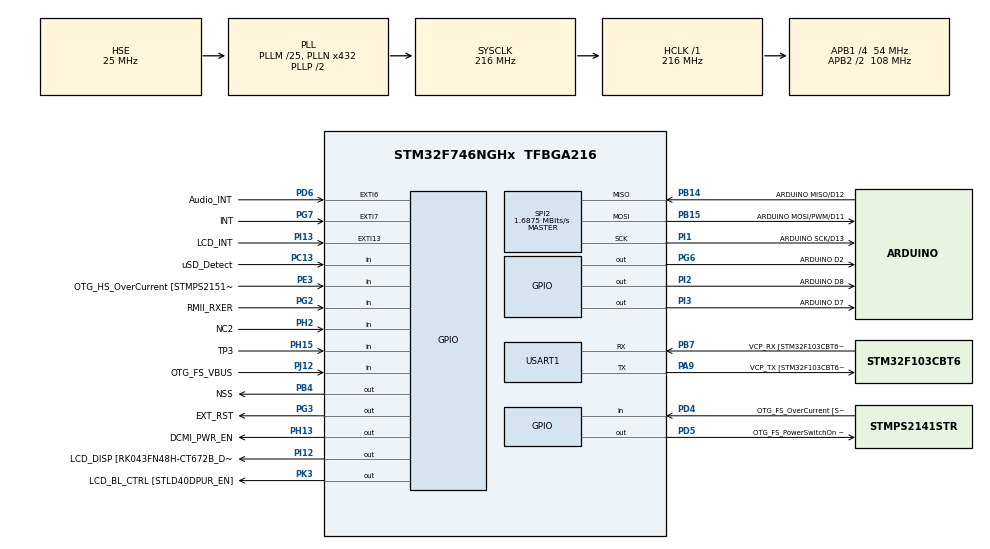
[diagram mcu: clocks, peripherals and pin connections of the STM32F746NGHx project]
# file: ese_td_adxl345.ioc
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Mcu.Family=STM32F7
Mcu.Name=STM32F746NGHx
Mcu.Package=TFBGA216
NVIC.EXTI9_5_IRQn=true\:0\:0\:false\:false\:true\:true\:true\:true
NVIC.PriorityGroup=NVIC_PRIORITYGROUP_4
PA0/WKUP.GPIO_Label=ARDUINO A0
PA0/WKUP.GPIO_Mode=GPIO_MODE_ANALOG
PA0/WKUP.GPIO_PuPd=GPIO_NOPULL
PA0/WKUP.Signal=ADCx_IN0
PA1.GPIO_Label=RMII_REF_CLK [LAN8742A-CZ-TR_REFCLK0]
PA1.Signal=ETH_REF_CLK
PA10.GPIO_Label=OTG_FS_ID
PA10.Signal=USB_OTG_FS_ID
PA11.GPIO_Label=OTG_FS_N
PA11.Signal=USB_OTG_FS_DM
PA12.GPIO_Label=OTG_FS_P
PA12.Signal=USB_OTG_FS_DP
PA13.GPIO_Label=SWDIO
PA13.Mode=Serial_Wire
PA13.Signal=SYS_JTMS-SWDIO
PA14.GPIO_Label=SWCLK
PA14.Mode=Serial_Wire
PA14.Signal=SYS_JTCK-SWCLK
PA15.GPIO_Label=ARDUINO PWM/D9
PA15.GPIO_ModeDefaultPP=GPIO_MODE_AF_PP
PA15.GPIO_PuPd=GPIO_NOPULL
PA15.GPIO_Speed=GPIO_SPEED_FREQ_LOW
PA15.Signal=S_TIM2_CH1_ETR
PA2.GPIO_Label=RMII_MDIO [LAN8742A-CZ-TR_MDIO]
PA2.Signal=ETH_MDIO
PA3.GPIO_Label=ULPI_D0 [USB3320C-EZK_D0]
PA3.Signal=USB_OTG_HS_ULPI_D0
PA4.GPIO_Label=DCMI_HSYNC
PA4.Signal=DCMI_HSYNC
PA5.GPIO_Label=ULPI_CLK [USB3320C-EZK_CLKOUT]
PA5.Signal=USB_OTG_HS_ULPI_CK
PA6.Signal=DCMI_PIXCLK
PA7.GPIO_Label=RMII_CRS_DV [LAN8742A-CZ-TR_CRS_DV]
PA7.Signal=ETH_CRS_DV
PA8.GPIO_Label=ARDUINO PWM/D10
PA8.GPIO_ModeDefaultPP=GPIO_MODE_AF_PP
PA8.GPIO_PuPd=GPIO_NOPULL
PA8.GPIO_Speed=GPIO_SPEED_FREQ_LOW
PA8.Signal=S_TIM1_CH1
PA9.GPIO_Label=VCP_TX [STM32F103CBT6_PA3]
PA9.GPIO_Mode=GPIO_MODE_AF_PP
PA9.GPIO_PuPd=GPIO_NOPULL
PA9.GPIO_Speed=GPIO_SPEED_FREQ_LOW
PA9.Mode=Asynchronous
PA9.Signal=USART1_TX
PB0.GPIO_Label=ULPI_D1 [USB3320C-EZK_D1]
PB0.Signal=USB_OTG_HS_ULPI_D1
PB1.GPIO_Label=ULPI_D2 [USB3320C-EZK_D2]
PB1.Signal=USB_OTG_HS_ULPI_D2
PB10.GPIO_Label=ULPI_D3 [USB3320C-EZK_D3]
PB10.Signal=USB_OTG_HS_ULPI_D3
PB11.GPIO_Label=ULPI_D4 [USB3320C-EZK_D4]
PB11.Signal=USB_OTG_HS_ULPI_D4
PB12.GPIO_Label=ULPI_D5 [USB3320C-EZK_D5]
PB12.Signal=USB_OTG_HS_ULPI_D5
PB13.GPIO_Label=ULPI_D6 [USB3320C-EZK_D6]
PB13.Signal=USB_OTG_HS_ULPI_D6
PB14.GPIO_Label=ARDUINO MISO/D12
PB14.GPIO_Mode=GPIO_MODE_AF_PP
PB14.GPIO_PuPd=GPIO_NOPULL
PB14.GPIO_Speed=GPIO_SPEED_FREQ_LOW
PB14.Mode=Full_Duplex_Master
PB14.Signal=SPI2_MISO
PB15.GPIO_Label=ARDUINO MOSI/PWM/D11
PB15.GPIO_Mode=GPIO_MODE_AF_PP
PB15.GPIO_PuPd=GPIO_NOPULL
PB15.GPIO_Speed=GPIO_SPEED_FREQ_LOW
PB15.Mode=Full_Duplex_Master
PB15.Signal=SPI2_MOSI
PB2.Signal=QUADSPI_CLK
PB3.GPIO_Label=SWO
PB3.Signal=SYS_JTDO-SWO
PB4.GPIO_Label=NSS
PB4.Signal=GPIO_Output
PB5.GPIO_Label=ULPI_D7 [USB3320C-EZK_D7]
PB5.Signal=USB_OTG_HS_ULPI_D7
PB6.GPIO_Label=QSPI_NCS [N25Q128A13EF840E_S]
PB6.Signal=QUADSPI_BK1_NCS
PB7.GPIO_Label=VCP_RX [STM32F103CBT6_PA2]
PB7.GPIO_Mode=GPIO_MODE_AF_PP
PB7.GPIO_PuPd=GPIO_NOPULL
PB7.GPIO_Speed=GPIO_SPEED_FREQ_LOW
PB7.Mode=Asynchronous
PB7.Signal=USART1_RX
PB8.GPIO_Label=ARDUINO SCL/D15
PB8.GPIO_Mode=GPIO_MODE_AF_OD
PB8.GPIO_PuPd=GPIO_NOPULL
PB8.GPIO_Speed=GPIO_SPEED_FREQ_LOW
PB8.Signal=I2C1_SCL
PB9.GPIO_Label=ARDUINO SDA/D14
PB9.GPIO_Mode=GPIO_MODE_AF_OD
PB9.GPIO_PuPd=GPIO_NOPULL
PB9.GPIO_Speed=GPIO_SPEED_FREQ_LOW
PB9.Signal=I2C1_SDA
PC0.GPIO_Label=ULPI_STP [USB3320C-EZK_STP]
PC0.Signal=USB_OTG_HS_ULPI_STP
PC1.GPIO_Label=RMII_MDC [LAN8742A-CZ-TR_MDC]
PC1.Signal=ETH_MDC
PC10.GPIO_Label=SDMMC_D2
PC10.Signal=SDMMC1_D2
PC11.GPIO_Label=SDMMC_D3
PC11.Signal=SDMMC1_D3
PC12.GPIO_Label=SDMMC_CK
PC12.Signal=SDMMC1_CK
PC13.GPIO_Label=uSD_Detect
PC13.Signal=GPIO_Input
PC14/OSC32_IN.GPIO_Label=RCC_OSC32_IN
PC14/OSC32_IN.Signal=RCC_OSC32_IN
PC15/OSC32_OUT.GPIO_Label=RCC_OSC32_OUT
PC15/OSC32_OUT.Signal=RCC_OSC32_OUT
PC2.GPIO_Label=ULPI_DIR [USB3320C-EZK_DIR]
PC2.Signal=USB_OTG_HS_ULPI_DIR
PC3.GPIO_Label=FMC_SDCKE0 [MT48LC4M32B2B5-6A_CKE]
PC3.Signal=FMC_SDCKE0
PC4.GPIO_Label=RMII_RXD0 [LAN8742A-CZ-TR_RXD0]
PC4.Signal=ETH_RXD0
PC5.GPIO_Label=RMII_RXD1 [LAN8742A-CZ-TR_RXD1]
PC5.Signal=ETH_RXD1
PC6.GPIO_Label=ARDUINO TX/D1
PC6.Signal=USART6_TX
PC7.GPIO_Label=ARDUINO RX/D0
PC7.Signal=USART6_RX
PC8.Signal=SDMMC1_D0
PC9.Signal=SDMMC1_D1
PD0.GPIO_Label=FMC_D2 [MT48LC4M32B2B5-6A_DQ2]
PD0.Signal=FMC_D2_DA2
PD1.GPIO_Label=FMC_D3 [MT48LC4M32B2B5-6A_DQ3]
PD1.Signal=FMC_D3_DA3
PD10.GPIO_Label=FMC_D15 [MT48LC4M32B2B5-6A_DQ15]
PD10.Signal=FMC_D15_DA15
PD11.GPIO_Label=QSPI_D0 [N25Q128A13EF840E_DQ0]
PD11.Signal=QUADSPI_BK1_IO0
PD12.GPIO_Label=QSPI_D1 [N25Q128A13EF840E_DQ1]
PD12.Signal=QUADSPI_BK1_IO1
PD13.GPIO_Label=QSPI_D3 [N25Q128A13EF840E_DQ3]
PD13.Signal=QUADSPI_BK1_IO3
PD14.GPIO_Label=FMC_D0 [MT48LC4M32B2B5-6A_DQ0]
PD14.Signal=FMC_D0_DA0
PD15.GPIO_Label=FMC_D1 [MT48LC4M32B2B5-6A_DQ1]
PD15.Signal=FMC_D1_DA1
PD2.GPIO_Label=SDMMC_D0
PD2.Signal=SDMMC1_CMD
PD3.GPIO_Label=DCMI_D5
PD3.Signal=DCMI_D5
PD4.GPIO_Label=OTG_FS_OverCurrent [STMPS2141STR_Fault]
PD4.Signal=GPIO_Input
PD5.GPIO_Label=OTG_FS_PowerSwitchOn [STMPS2141STR_EN]
PD5.PinState=GPIO_PIN_SET
PD5.Signal=GPIO_Output
PD6.GPIO_Label=Audio_INT
PD6.GPIO_ModeDefaultEXTI=GPIO_MODE_EVT_RISING
PD6.Signal=GPXTI6
PD7.GPIO_Label=SPDIF_RX0 [74LVC1G04SE_4]
PD7.Signal=SPDIFRX_IN0
PD8.GPIO_Label=FMC_D13 [MT48LC4M32B2B5-6A_DQ13]
PD8.Signal=FMC_D13_DA13
PD9.GPIO_Label=FMC_D14 [MT48LC4M32B2B5-6A_DQ14]
PD9.Signal=FMC_D14_DA14
PE0.GPIO_Label=FMC_NBL0 [MT48LC4M32B2B5-6A_DQM0]
PE0.Signal=FMC_NBL0
PE1.GPIO_Label=FMC_NBL1 [MT48LC4M32B2B5-6A_DQM1]
PE1.Signal=FMC_NBL1
PE10.GPIO_Label=FMC_D7 [MT48LC4M32B2B5-6A_DQ7]
PE10.Signal=FMC_D7_DA7
PE11.GPIO_Label=FMC_D8 [MT48LC4M32B2B5-6A_DQ8]
PE11.Signal=FMC_D8_DA8
PE12.GPIO_Label=FMC_D9 [MT48LC4M32B2B5-6A_DQ9]
PE12.Signal=FMC_D9_DA9
PE13.GPIO_Label=FMC_D10 [MT48LC4M32B2B5-6A_DQ10]
PE13.Signal=FMC_D10_DA10
PE14.GPIO_Label=FMC_D11 [MT48LC4M32B2B5-6A_DQ11]
PE14.Signal=FMC_D11_DA11
PE15.GPIO_Label=FMC_D12 [MT48LC4M32B2B5-6A_DQ12]
PE15.Signal=FMC_D12_DA12
PE2.GPIO_Label=QSPI_D2 [N25Q128A13EF840E_DQ2]
PE2.Signal=QUADSPI_BK1_IO2
PE3.GPIO_Label=OTG_HS_OverCurrent [STMPS2151STR_FAULT]
PE3.Signal=GPIO_Input
PE4.GPIO_Label=LCD_B0 [RK043FN48H-CT672B_B0]
PE4.Signal=LTDC_B0
PE5.GPIO_Label=DCMI_D6
PE5.Signal=DCMI_D6
PE6.GPIO_Label=DCMI_D7
PE6.Signal=DCMI_D7
PE7.GPIO_Label=FMC_D4 [MT48LC4M32B2B5-6A_DQ4]
PE7.Signal=FMC_D4_DA4
PE8.GPIO_Label=FMC_D5 [MT48LC4M32B2B5-6A_DQ5]
PE8.Signal=FMC_D5_DA5
PE9.GPIO_Label=FMC_D6 [MT48LC4M32B2B5-6A_DQ6]
PE9.Signal=FMC_D6_DA6
PF0.GPIO_Label=FMC_A0 [MT48LC4M32B2B5-6A_A0]
PF0.Signal=FMC_A0
PF1.GPIO_Label=FMC_A1 [MT48LC4M32B2B5-6A_A1]
PF1.Signal=FMC_A1
PF10.GPIO_Label=ARDUINO A1
PF10.GPIO_Mode=GPIO_MODE_ANALOG
PF10.GPIO_PuPd=GPIO_NOPULL
PF10.Signal=ADC3_IN8
PF11.GPIO_Label=FMC_SDNRAS [MT48LC4M32B2B5-6A_RAS]
PF11.Signal=FMC_SDNRAS
PF12.GPIO_Label=FMC_A6 [MT48LC4M32B2B5-6A_A6]
PF12.Signal=FMC_A6
PF13.GPIO_Label=FMC_A7 [MT48LC4M32B2B5-6A_A7]
PF13.Signal=FMC_A7
PF14.GPIO_Label=FMC_A8 [MT48LC4M32B2B5-6A_A8]
PF14.Signal=FMC_A8
PF15.GPIO_Label=FMC_A9 [MT48LC4M32B2B5-6A_A9]
PF15.Signal=FMC_A9
PF2.GPIO_Label=FMC_A2 [MT48LC4M32B2B5-6A_A2]
PF2.Signal=FMC_A2
PF3.GPIO_Label=FMC_A3 [MT48LC4M32B2B5-6A_A3]
PF3.Signal=FMC_A3
PF4.GPIO_Label=FMC_A4 [MT48LC4M32B2B5-6A_A4]
PF4.Signal=FMC_A4
PF5.GPIO_Label=FMC_A5 [MT48LC4M32B2B5-6A_A5]
PF5.Signal=FMC_A5
PF6.GPIO_Label=ARDUINO A5
PF6.GPIO_Mode=GPIO_MODE_ANALOG
PF6.GPIO_PuPd=GPIO_NOPULL
PF6.Signal=ADC3_IN4
PF7.GPIO_Label=ARDUINO A4
PF7.GPIO_Mode=GPIO_MODE_ANALOG
PF7.GPIO_PuPd=GPIO_NOPULL
PF7.Signal=ADC3_IN5
PF8.GPIO_Label=ARDUINO A3
PF8.GPIO_Mode=GPIO_MODE_ANALOG
PF8.GPIO_PuPd=GPIO_NOPULL
PF8.Signal=ADC3_IN6
PF9.GPIO_Label=ARDUINO A2
PF9.GPIO_Mode=GPIO_MODE_ANALOG
PF9.GPIO_PuPd=GPIO_NOPULL
PF9.Signal=ADC3_IN7
PG0.GPIO_Label=FMC_A10 [MT48LC4M32B2B5-6A_A10]
PG0.Signal=FMC_A10
PG1.GPIO_Label=FMC_A11 [MT48LC4M32B2B5-6A_A11]
PG1.Signal=FMC_A11
PG10.GPIO_Label=SAI2_SDB [WM8994ECS/R_ADCDAT1]
PG10.Signal=SAI2_SD_B
PG11.GPIO_Label=RMII_TX_EN [LAN8742A-CZ-TR_TXEN]
PG11.Signal=ETH_TX_EN
PG12.GPIO_Label=LCD_B4 [RK043FN48H-CT672B_B4]
PG12.Signal=LTDC_B4
PG13.GPIO_Label=RMII_TXD0 [LAN8742A-CZ-TR_TXD0]
PG13.Signal=ETH_TXD0
PG14.GPIO_Label=RMII_TXD1 [LAN8742A-CZ-TR_TXD1]
PG14.Signal=ETH_TXD1
PG15.GPIO_Label=FMC_SDNCAS [MT48LC4M32B2B5-6A_CAS]
PG15.Signal=FMC_SDNCAS
PG2.GPIO_Label=RMII_RXER
PG2.Signal=GPIO_Input
PG3.GPIO_Label=EXT_RST
PG3.Signal=GPIO_Output
PG4.GPIO_Label=FMC_BA0 [MT48LC4M32B2B5-6A_BA0]
PG4.Signal=FMC_A14_BA0
PG5.GPIO_Label=FMC_BA1 [MT48LC4M32B2B5-6A_BA1]
PG5.Signal=FMC_A15_BA1
PG6.GPIO_Label=ARDUINO D2
PG6.Signal=GPIO_Output
PG7.GPIO_Label=INT
PG7.Signal=GPXTI7
PG8.GPIO_Label=FMC_SDCLK [MT48LC4M32B2B5-6A_CLK]
PG8.Signal=FMC_SDCLK
PG9.GPIO_Label=DCMI_VSYNC
PG9.Signal=DCMI_VSYNC
PH0/OSC_IN.GPIO_Label=OSC_25M [NZ2520SB-25.00M_OUT]
PH0/OSC_IN.Mode=HSE-External-Oscillator
PH0/OSC_IN.Signal=RCC_OSC_IN
PH1/OSC_OUT.Mode=HSE-External-Oscillator
PH1/OSC_OUT.Signal=RCC_OSC_OUT
PH10.GPIO_Label=DCMI_D1
PH10.Signal=DCMI_D1
PH11.GPIO_Label=DCMI_D2
PH11.Signal=DCMI_D2
PH12.GPIO_Label=DCMI_D3
PH12.Signal=DCMI_D3
PH13.GPIO_Label=DCMI_PWR_EN
PH13.Signal=GPIO_Output
PH14.GPIO_Label=DCMI_D4
PH14.Signal=DCMI_D4
PH15.GPIO_Label=TP3
PH15.Signal=GPIO_Input
PH2.GPIO_Label=NC2
PH2.Signal=GPIO_Input
PH3.GPIO_Label=FMC_SDNE0 [MT48LC4M32B2B5-6A_CS]
PH3.Signal=FMC_SDNE0
PH4.GPIO_Label=ULPI_NXT [USB3320C-EZK_NXT]
PH4.Signal=USB_OTG_HS_ULPI_NXT
PH5.GPIO_Label=FMC_SDNME [MT48LC4M32B2B5-6A_WE]
PH5.Signal=FMC_SDNWE
PH6.GPIO_Label=ARDUINO PWM/D6
PH6.Signal=S_TIM12_CH1
PH7.GPIO_Label=LCD_SCL [RK043FN48H-CT672B_SCL]
PH7.Signal=I2C3_SCL
PH8.GPIO_Label=LCD_SDA [RK043FN48H-CT672B_SDA]
PH8.Signal=I2C3_SDA
PH9.GPIO_Label=DCMI_D0
PH9.Signal=DCMI_D0
PI0.GPIO_Label=ARDUINO PWM/CS/D5
PI0.GPIO_ModeDefaultPP=GPIO_MODE_AF_PP
PI0.GPIO_PuPd=GPIO_NOPULL
PI0.GPIO_Speed=GPIO_SPEED_FREQ_LOW
PI0.Signal=S_TIM5_CH4
PI1.GPIO_Label=ARDUINO SCK/D13
PI1.GPIO_Mode=GPIO_MODE_AF_PP
PI1.GPIO_PuPd=GPIO_NOPULL
PI1.GPIO_Speed=GPIO_SPEED_FREQ_LOW
PI1.Mode=Full_Duplex_Master
PI1.Signal=SPI2_SCK
PI10.GPIO_Label=LCD_HSYNC [RK043FN48H-CT672B_HSYNC]
PI10.Signal=LTDC_HSYNC
PI12.GPIO_Label=LCD_DISP [RK043FN48H-CT672B_DISP] 
PI12.Signal=GPIO_Output
PI13.GPIO_Label=LCD_INT
PI13.GPIO_ModeDefaultEXTI=GPIO_MODE_EVT_RISING
PI13.Signal=GPXTI13
PI14.GPIO_Label=LCD_CLK [RK043FN48H-CT672B_CLK]
PI14.Signal=LTDC_CLK
PI15.GPIO_Label=LCD_R0 [RK043FN48H-CT672B_R0]
PI15.Signal=LTDC_R0
PI2.GPIO_Label=ARDUINO D8
PI2.Signal=GPIO_Output
PI3.GPIO_Label=ARDUINO D7
PI3.Signal=GPIO_Output
PI4.GPIO_Label=SAI2_MCLKA [WM8994ECS/R_MCLK1]
PI4.Signal=SAI2_MCLK_A
PI5.GPIO_Label=SAI2_SCKA [WM8994ECS/R_BCLK1]
PI5.Signal=SAI2_SCK_A
PI6.GPIO_Label=SAI2_SDA [WM8994ECS/R_DACDAT1]
PI6.Signal=SAI2_SD_A
PI7.GPIO_Label=SAI2_FSA [WM8994ECS/R_LRCLK1]
PI7.Signal=SAI2_FS_A
PI8.GPIO_Label=NC1 [TP2]
PI8.Signal=RTC_TS
PI9.GPIO_Label=LCD_VSYNC [RK043FN48H-CT672B_VSYNC]
PI9.Signal=LTDC_VSYNC
PJ0.GPIO_Label=LCD_R1 [RK043FN48H-CT672B_R1]
PJ0.Signal=LTDC_R1
PJ1.GPIO_Label=LCD_R2 [RK043FN48H-CT672B_R2]
PJ1.Signal=LTDC_R2
PJ10.GPIO_Label=LCD_G3 [RK043FN48H-CT672B_G3]
PJ10.Signal=LTDC_G3
PJ11.GPIO_Label=LCD_G4 [RK043FN48H-CT672B_G4]
PJ11.Signal=LTDC_G4
PJ12.GPIO_Label=OTG_FS_VBUS
PJ12.Signal=GPIO_Input
PJ13.GPIO_Label=LCD_B1 [RK043FN48H-CT672B_B1]
PJ13.Signal=LTDC_B1
PJ14.GPIO_Label=LCD_B2 [RK043FN48H-CT672B_B2]
PJ14.Signal=LTDC_B2
PJ15.GPIO_Label=LCD_B3 [RK043FN48H-CT672B_B3]
PJ15.Signal=LTDC_B3
PJ2.GPIO_Label=LCD_R3 [RK043FN48H-CT672B_R3]
PJ2.Signal=LTDC_R3
PJ3.GPIO_Label=LCD_R4 [RK043FN48H-CT672B_R4]
PJ3.Signal=LTDC_R4
PJ4.GPIO_Label=LCD_R5 [RK043FN48H-CT672B_R5]
PJ4.Signal=LTDC_R5
PJ5.GPIO_Label=LCD_R6 [RK043FN48H-CT672B_R6]
PJ5.Signal=LTDC_R6
PJ6.GPIO_Label=LCD_R7 [RK043FN48H-CT672B_R7]
PJ6.Signal=LTDC_R7
PJ7.GPIO_Label=LCD_G0 [RK043FN48H-CT672B_G0]
PJ7.Signal=LTDC_G0
PJ8.GPIO_Label=LCD_G1 [RK043FN48H-CT672B_G1]
PJ8.Signal=LTDC_G1
PJ9.GPIO_Label=LCD_G2 [RK043FN48H-CT672B_G2]
PJ9.Signal=LTDC_G2
PK0.GPIO_Label=LCD_G5 [RK043FN48H-CT672B_G5]
PK0.Signal=LTDC_G5
PK1.GPIO_Label=LCD_G6 [RK043FN48H-CT672B_G6]
PK1.Signal=LTDC_G6
PK2.GPIO_Label=LCD_G7 [RK043FN48H-CT672B_G7]
PK2.Signal=LTDC_G7
PK3.GPIO_Label=LCD_BL_CTRL [STLD40DPUR_EN]
PK3.Signal=GPIO_Output
PK4.GPIO_Label=LCD_B5 [RK043FN48H-CT672B_B5]
PK4.Signal=LTDC_B5
PK5.GPIO_Label=LCD_B6 [RK043FN48H-CT672B_B6]
PK5.Signal=LTDC_B6
PK6.GPIO_Label=LCD_B7 [RK043FN48H-CT672B_B7]
PK6.Signal=LTDC_B7
PK7.GPIO_Label=LCD_DE [RK043FN48H-CT672B_DE]
PK7.Signal=LTDC_DE
ProjectManager.HeapSize=0x200
ProjectManager.StackSize=0x400
ProjectManager.TargetToolchain=STM32CubeIDE
RCC.AHBFreq_Value=216000000
RCC.APB1CLKDivider=RCC_HCLK_DIV4
RCC.APB1Freq_Value=54000000
RCC.APB1TimFreq_Value=108000000
RCC.APB2CLKDivider=RCC_HCLK_DIV2
RCC.APB2Freq_Value=108000000
RCC.APB2TimFreq_Value=216000000
RCC.CortexFreq_Value=216000000
RCC.HCLKFreq_Value=216000000
RCC.HSE_VALUE=25000000
RCC.HSI_VALUE=16000000
RCC.LSE_VALUE=32768
RCC.PLLM=25
RCC.PLLN=432
RCC.PLLSourceVirtual=RCC_PLLSOURCE_HSE
RCC.SYSCLKFreq_VALUE=216000000
RCC.SYSCLKSource=RCC_SYSCLKSOURCE_PLLCLK
RCC.USBFreq_Value=216000000
RCC.VCOOutputFreq_Value=432000000
SH.ADCx_IN0.0=ADC3_IN0
SH.FMC_A0.0=FMC_A0
SH.FMC_A1.0=FMC_A1
SH.FMC_A10.0=FMC_A10
SH.FMC_A11.0=FMC_A11
SH.FMC_A14_BA0.0=FMC_BA0
SH.FMC_A15_BA1.0=FMC_BA1
SH.FMC_A2.0=FMC_A2
SH.FMC_A3.0=FMC_A3
SH.FMC_A4.0=FMC_A4
SH.FMC_A5.0=FMC_A5
SH.FMC_A6.0=FMC_A6
SH.FMC_A7.0=FMC_A7
SH.FMC_A8.0=FMC_A8
SH.FMC_A9.0=FMC_A9
SH.FMC_D0_DA0.0=FMC_D0
SH.FMC_D10_DA10.0=FMC_D10
SH.FMC_D11_DA11.0=FMC_D11
SH.FMC_D12_DA12.0=FMC_D12
SH.FMC_D13_DA13.0=FMC_D13
SH.FMC_D14_DA14.0=FMC_D14
SH.FMC_D15_DA15.0=FMC_D15
SH.FMC_D1_DA1.0=FMC_D1
SH.FMC_D2_DA2.0=FMC_D2
SH.FMC_D3_DA3.0=FMC_D3
SH.FMC_D4_DA4.0=FMC_D4
SH.FMC_D5_DA5.0=FMC_D5
SH.FMC_D6_DA6.0=FMC_D6
SH.FMC_D7_DA7.0=FMC_D7
SH.FMC_D8_DA8.0=FMC_D8
SH.FMC_D9_DA9.0=FMC_D9
SH.FMC_NBL0.0=FMC_NBL0
SH.FMC_NBL1.0=FMC_NBL1
SH.FMC_SDCLK.0=FMC_SDCLK
SH.FMC_SDNCAS.0=FMC_SDNCAS
SH.FMC_SDNRAS.0=FMC_SDNRAS
SH.FMC_SDNWE.0=FMC_SDNWE
SH.S_TIM12_CH1.0=TIM12_CH1
SH.S_TIM1_CH1.0=TIM1_CH1
SH.S_TIM2_CH1_ETR.0=TIM2_CH1
SH.S_TIM5_CH4.0=TIM5_CH4
SPI2.BaudRatePrescaler=SPI_BAUDRATEPRESCALER_32
SPI2.CLKPhase=SPI_PHASE_2EDGE
SPI2.CLKPolarity=SPI_POLARITY_HIGH
SPI2.CalculateBaudRate=1.6875 MBits/s
SPI2.DataSize=SPI_DATASIZE_8BIT
SPI2.Direction=SPI_DIRECTION_2LINES
SPI2.Mode=SPI_MODE_MASTER
SPI2.VirtualType=VM_MASTER
USART1.VirtualMode-Asynchronous=VM_ASYNC
board=STM32F746G-DISCO

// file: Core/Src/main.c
/* USER CODE BEGIN Header */
/**
 ******************************************************************************
 * @file           : main.c
 * @brief          : Main program body
 ******************************************************************************
 * @attention
 *
 * Copyright (c) 2022 STMicroelectronics.
 * All rights reserved.
 *
 * This software is licensed under terms that can be found in the LICENSE file
 * in the root directory of this software component.
 * If no LICENSE file comes with this software, it is provided AS-IS.
 *
 ******************************************************************************
 */
/* USER CODE END Header */
#include "main.h"
#include "spi.h"
#include "usart.h"
#include "gpio.h"

/* USER CODE BEGIN Includes */
#include "stdio.h"
/* USER CODE END Includes */

void SystemClock_Config(void);
/* USER CODE BEGIN PFP */
void process_acceleration(uint32_t period_ms, float acc_x, float acc_y, float acc_z);
/* USER CODE END PFP */

/* USER CODE BEGIN 0 */
int __io_putchar(int chr)
{
	HAL_UART_Transmit(&huart1, (uint8_t*)&chr, 1, HAL_MAX_DELAY);
	return chr;
}
/* USER CODE END 0 */

int main(void)
{

	/* MCU Configuration--------------------------------------------------------*/

	/* Reset of all peripherals, Initializes the Flash interface and the Systick. */
	HAL_Init();

	/* Configure the system clock */
	SystemClock_Config();

	/* Initialize all configured peripherals */
	MX_GPIO_Init();
	MX_SPI2_Init();
	MX_USART1_UART_Init();
	/* USER CODE BEGIN 2 */
	printf("\r\n===== ADXL345 =====\r\n");
	printf("Connecter VCC sur le 5V et GND sur GND\r\n");
	printf("CS sur D3, SDO sur D12, SDA sur D11, SCL sur D13, INT1 sur D4\r\n");

	uint8_t receive_buffer = 0;
	uint8_t transmit_buffer = 0x80;

	// Reading the DEVID, it should be 0xE5
	HAL_GPIO_WritePin(NSS_GPIO_Port, NSS_Pin, GPIO_PIN_RESET);
	HAL_SPI_Transmit(&hspi2, &transmit_buffer, 1, HAL_MAX_DELAY);
	HAL_SPI_Receive(&hspi2, &receive_buffer, 1, HAL_MAX_DELAY);
	HAL_GPIO_WritePin(NSS_GPIO_Port, NSS_Pin, GPIO_PIN_SET);

	printf("DEVID = 0x%02X\r\n", receive_buffer);
	if (receive_buffer != 0xE5)
	{
		Error_Handler();
	}

	// Write '1' to the DATA_READY bit in the INT_ENABLE register
	// Generate an interrupt when a new data is ready
	HAL_GPIO_WritePin(NSS_GPIO_Port, NSS_Pin, GPIO_PIN_RESET);
	transmit_buffer = 0x2E;
	HAL_SPI_Transmit(&hspi2, &transmit_buffer, 1, HAL_MAX_DELAY);
	transmit_buffer = 0x80;
	HAL_SPI_Transmit(&hspi2, &transmit_buffer, 1, HAL_MAX_DELAY);
	HAL_GPIO_WritePin(NSS_GPIO_Port, NSS_Pin, GPIO_PIN_SET);

	// Write '1' to the Measure bit in POWER_CTL register
	HAL_GPIO_WritePin(NSS_GPIO_Port, NSS_Pin, GPIO_PIN_RESET);
	transmit_buffer = 0x2D;
	HAL_SPI_Transmit(&hspi2, &transmit_buffer, 1, HAL_MAX_DELAY);
	transmit_buffer = 0x08;
	HAL_SPI_Transmit(&hspi2, &transmit_buffer, 1, HAL_MAX_DELAY);
	HAL_GPIO_WritePin(NSS_GPIO_Port, NSS_Pin, GPIO_PIN_SET);

	uint8_t buffer[6];
	int16_t x_int;
	int16_t y_int;
	int16_t z_int;

	float x, y, z;
	/* USER CODE END 2 */

	/* Infinite loop */
	/* USER CODE BEGIN WHILE */
	while (1)
	{
		// Wait the ADXL345 to finish its measure
		while(HAL_GPIO_ReadPin(INT_GPIO_Port, INT_Pin) == GPIO_PIN_RESET);

		// Reads registers DATAX0 to DATAZ1
		HAL_GPIO_WritePin(NSS_GPIO_Port, NSS_Pin, GPIO_PIN_RESET);
		transmit_buffer = 0x80 + 0x40 + 0x32;
		HAL_SPI_Transmit(&hspi2, &transmit_buffer, 1, HAL_MAX_DELAY);
		HAL_SPI_Receive(&hspi2, buffer, 6, HAL_MAX_DELAY);
		HAL_GPIO_WritePin(NSS_GPIO_Port, NSS_Pin, GPIO_PIN_SET);

		x_int = buffer[0] + (buffer[1] << 8);
		y_int = buffer[2] + (buffer[3] << 8);
		z_int = buffer[4] + (buffer[5] << 8);

		x = (float) x_int / 256.0;
		y = (float) y_int / 256.0;
		z = (float) z_int / 256.0;

		process_acceleration(100, (float)x, (float)y, (float)z);
		/* USER CODE END WHILE */

	}
}

void SystemClock_Config(void)
{
	RCC_OscInitTypeDef RCC_OscInitStruct = {0};
	RCC_ClkInitTypeDef RCC_ClkInitStruct = {0};

	/** Configure the main internal regulator output voltage
	 */
	__HAL_RCC_PWR_CLK_ENABLE();
	__HAL_PWR_VOLTAGESCALING_CONFIG(PWR_REGULATOR_VOLTAGE_SCALE1);

	/** Initializes the RCC Oscillators according to the specified parameters
	 * in the RCC_OscInitTypeDef structure.
	 */
	RCC_OscInitStruct.OscillatorType = RCC_OSCILLATORTYPE_HSE;
	RCC_OscInitStruct.HSEState = RCC_HSE_ON;
	RCC_OscInitStruct.PLL.PLLState = RCC_PLL_ON;
	RCC_OscInitStruct.PLL.PLLSource = RCC_PLLSOURCE_HSE;
	RCC_OscInitStruct.PLL.PLLM = 25;
	RCC_OscInitStruct.PLL.PLLN = 432;
	RCC_OscInitStruct.PLL.PLLP = RCC_PLLP_DIV2;
	RCC_OscInitStruct.PLL.PLLQ = 2;
	if (HAL_RCC_OscConfig(&RCC_OscInitStruct) != HAL_OK)
	{
		Error_Handler();
	}

	/** Activate the Over-Drive mode
	 */
	if (HAL_PWREx_EnableOverDrive() != HAL_OK)
	{
		Error_Handler();
	}

	/** Initializes the CPU, AHB and APB buses clocks
	 */
	RCC_ClkInitStruct.ClockType = RCC_CLOCKTYPE_HCLK|RCC_CLOCKTYPE_SYSCLK
			|RCC_CLOCKTYPE_PCLK1|RCC_CLOCKTYPE_PCLK2;
	RCC_ClkInitStruct.SYSCLKSource = RCC_SYSCLKSOURCE_PLLCLK;
	RCC_ClkInitStruct.AHBCLKDivider = RCC_SYSCLK_DIV1;
	RCC_ClkInitStruct.APB1CLKDivider = RCC_HCLK_DIV4;
	RCC_ClkInitStruct.APB2CLKDivider = RCC_HCLK_DIV2;

	if (HAL_RCC_ClockConfig(&RCC_ClkInitStruct, FLASH_LATENCY_7) != HAL_OK)
	{
		Error_Handler();
	}
}

/* USER CODE BEGIN 4 */
void process_acceleration(uint32_t period_ms, float acc_x, float acc_y, float acc_z)
{
	static uint32_t tick_last = 0;
	static uint32_t counter = 0;
	static float acc_x_average = 0.0f;
	static float acc_y_average = 0.0f;
	static float acc_z_average = 0.0f;
	uint32_t tick = HAL_GetTick();

	acc_x_average += acc_x;
	acc_y_average += acc_y;
	acc_z_average += acc_z;
	counter++;

	if ((tick - tick_last) >= period_ms)
	{
		acc_x_average /= counter;
		acc_y_average /= counter;
		acc_z_average /= counter;

		printf("x=%1.2f, y=%1.2f, z=%1.2f\r", acc_x_average, acc_y_average, acc_z_average);
		fflush(stdout);

		acc_x_average = 0.0f;
		acc_y_average = 0.0f;
		acc_z_average = 0.0f;
		counter = 0;

		tick_last = tick;
	}

}
/* USER CODE END 4 */

void Error_Handler(void)
{
	__disable_irq();
	while (1)
	{
	}
}
